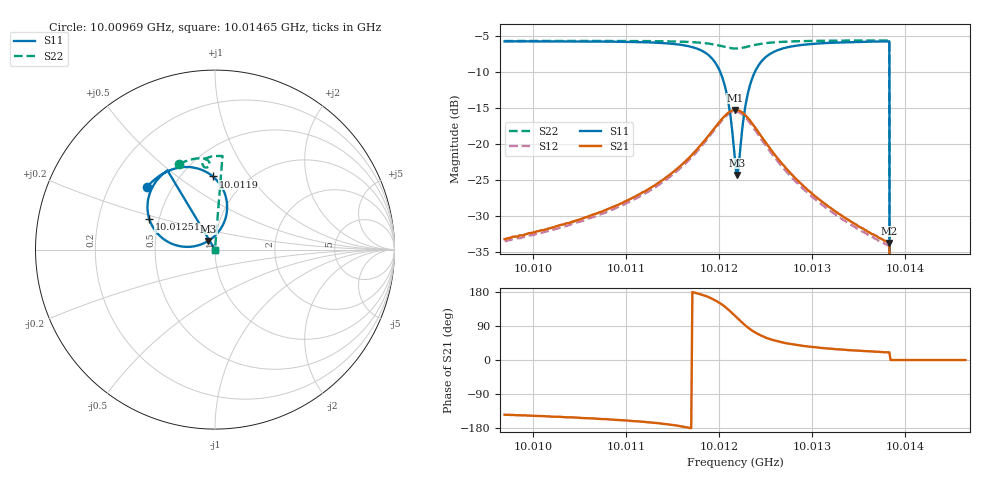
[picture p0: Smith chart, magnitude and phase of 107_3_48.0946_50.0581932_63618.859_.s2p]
#  HZ  S  RI  R  50.00
! Rohde & Schwarz Vector Network Analyzer
! Rohde-Schwarz,ZNB20-2Port,1311601062101988,3.16
! Created: UTC 12/23/2023, 3:45:23 AM
! freq[Hz]  re:S11  im:S11  re:S21  im:S21  re:S12  im:S12  re:S22  im:S22
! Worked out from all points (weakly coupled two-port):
!   401 points, 10.00969 GHz to 10.01465 GHz, reference 50 ohm
!   highest |S21| = -15.26 dB at 10.01217 GHz (marker M1); lowest = -33.7 dB at 10.01383 GHz (marker M2)
!   lowest |S11| = -24.3 dB at 10.0122 GHz (marker M3), VSWR 1.13, Z = 46.2 + j4.49 ohm
!   |S11| at or under -10 dB: 10.01201 GHz to 10.01239 GHz (372.4 kHz wide, 0.00372 % of centre); 10.01383 GHz to end of sweep
!   |S22| runs from - to -5.6 dB; largest |S21 - S12| = 0.0084
!   S11 on the Smith chart (normalised r, x): 10.00969 GHz: 0.36, +0.34; 10.0119 GHz: 0.70, +0.68; 10.01251 GHz: 0.44, +0.18; 10.01465 GHz: 1.00, +0.00
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1.0009694e10  -0.3814 0.3467  -0.0178 -0.0128  -0.0166 -0.0132  -0.2002 0.4781
1.0010524e10  -0.3262 0.3985  -0.0271 -0.0137  -0.0253 -0.0146  -0.1477 0.4975
1.001097e10  -0.2821 0.4274  -0.0368 -0.0141  -0.0346 -0.0152  -0.1171 0.5051
1.0011354e10  -0.2226 0.4517  -0.0529 -0.0123  -0.0501 -0.0145  -0.088 0.5091
1.0011701e10  -0.1195 0.457  -0.0832 -8.69e-05  -0.0804 -0.00392  -0.057 0.5064
1.0011899e10  -0.012 0.4074  -0.1128 0.0308  -0.111 0.0242  -0.0372 0.4947
1.0011986e10  0.0415 0.3413  -0.1234 0.0613  -0.1231 0.0532  -0.0312 0.484
1.0012061e10  0.0674 0.2477  -0.1221 0.0978  -0.123 0.0907  -0.0309 0.4715
1.001211e10  0.057 0.1692  -0.109 0.1261  -0.1119 0.1184  -0.0353 0.4634
1.0012172e10  -0.000963 0.0764  -0.0769 0.1545  -0.0806 0.1478  -0.0458 0.4575
1.0012197e10  -0.0373 0.0484  -0.0606 0.1611  -0.0645 0.1546  -0.0508 0.4571
1.0012222e10  -0.0778 0.0287  -0.0441 0.1642  -0.0481 0.158  -0.0558 0.458
1.0012271e10  -0.1621 0.0152  -0.0109 0.1611  -0.0151 0.1554  -0.0638 0.4635
1.0012321e10  -0.237 0.031  0.0162 0.1482  0.0109 0.1432  -0.0683 0.4713
1.0012395e10  -0.3146 0.0838  0.0402 0.1221  0.0347 0.1183  -0.0689 0.4835
1.0012507e10  -0.3656 0.1694  0.0528 0.0868  0.0471 0.0849  -0.0621 0.4977
1.0012717e10  -0.3727 0.2797  0.0488 0.0479  0.0442 0.0478  -0.0432 0.5113
1.0013002e10  -0.3444 0.3553  0.0373 0.0256  0.0344 0.026  -0.0189 0.5184
1.0013808e10  -0.2674 0.4403  0.0198 0.00727  0.0183 0.008  0.0401 0.5214
1.0013832e10  -0.2654 0.4418  0.0194 0.00709  0.018 0.00777  0.0418 0.5213
1.001387e10  0 0  0 0  0 0  0 0
1.001465e10  0 0  0 0  0 0  0 0
